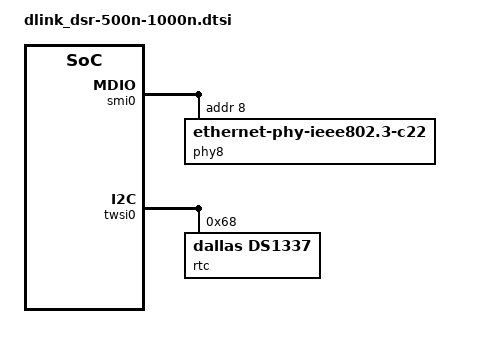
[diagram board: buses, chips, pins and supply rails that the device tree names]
// SPDX-License-Identifier: GPL-2.0-only
/*
 * Device tree source for D-Link DSR-500N/1000N (common parts).
 *
 * Written by: Aaro Koskinen <aaro.koskinen@iki.fi>
 */

/include/ "octeon_3xxx.dtsi"

/ {
	soc@0 {
		smi0: mdio@1180000001800 {
			phy8: ethernet-phy@8 {
				reg = <8>;
				compatible = "ethernet-phy-ieee802.3-c22";
			};
		};

		pip: pip@11800a0000000 {
			interface@0 {
				ethernet@0 {
					fixed-link {
						speed = <1000>;
						full-duplex;
					};
				};
				ethernet@1 {
					fixed-link {
						speed = <1000>;
						full-duplex;
					};
				};
				ethernet@2 {
					phy-handle = <&phy8>;
				};
			};
		};

		twsi0: i2c@1180000001000 {
			rtc@68 {
				compatible = "dallas,ds1337";
				reg = <0x68>;
			};
		};

		usbn: usbn@1180068000000 {
			refclk-frequency = <12000000>;
			refclk-type = "crystal";
		};
	};

	aliases {
		pip = &pip;
	};
};
